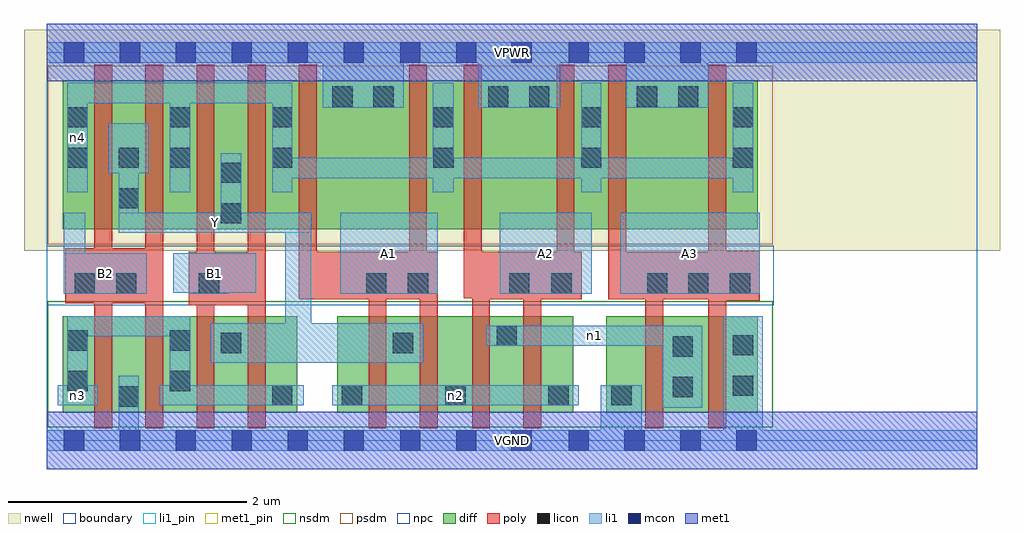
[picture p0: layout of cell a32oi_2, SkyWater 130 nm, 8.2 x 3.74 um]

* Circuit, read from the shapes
.subckt a32oi_2 A1 A2 A3 B1 B2 VGND VPWR Y n1 n2 n3 n4
XM1 VGND B2 n3 VSUBS sky130_fd_pr__nfet_01v8 w=0.81 l=0.15 m=2
XM2 Y B1 n3 VSUBS sky130_fd_pr__nfet_01v8 w=0.81 l=0.15 m=2
XM3 Y A1 n2 VSUBS sky130_fd_pr__nfet_01v8 w=0.81 l=0.15 m=2
XM4 n1 A2 n2 VSUBS sky130_fd_pr__nfet_01v8 w=0.81 l=0.15 m=2
XM5 n1 A3 VGND VSUBS sky130_fd_pr__nfet_01v8 w=0.81 l=0.15 m=2
XM6 Y B2 n4 n5 sky130_fd_pr__pfet_01v8 w=1.25 l=0.15 m=2
XM7 Y B1 n4 n5 sky130_fd_pr__pfet_01v8 w=1.25 l=0.15 m=2
XM8 VPWR A1 n4 n5 sky130_fd_pr__pfet_01v8 w=1.25 l=0.15 m=2
XM9 VPWR A2 n4 n5 sky130_fd_pr__pfet_01v8 w=1.25 l=0.15 m=2
XM10 VPWR A3 n4 n5 sky130_fd_pr__pfet_01v8 w=1.25 l=0.15 m=2
.ends

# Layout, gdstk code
import gdstk
lib = gdstk.Library(unit=1e-6, precision=1e-09)
def R(c, l, rs):  # rectangles x0, y0, x1, y1
    for r in rs: c.add(gdstk.rectangle(r[:2], r[2:], *l))
def A(c, l, x, y, w, h, nx, ny, dx, dy):  # array of equal rectangles
    R(c, l, [(x+i*dx, y+j*dy, x+i*dx+w, y+j*dy+h) for i in range(nx) for j in range(ny)])
nwell = (64, 20)
diff = (65, 20)
poly = (66, 20)
licon = (66, 44)
li1_pin = (67, 16)
li1 = (67, 20)
mcon = (67, 44)
met1_pin = (68, 16)
met1 = (68, 20)
nsdm = (93, 44)
psdm = (94, 20)
npc = (95, 20)
boundary = (235, 4)

a32oi_2 = lib.new_cell('a32oi_2')
R(a32oi_2, nwell, [(-0.19,1.595,8.01,3.45), (0,1.595,7.82,3.45)])
R(a32oi_2, diff, [(0.135,0.235,2.105,1.045), (2.44,0.235,4.425,1.045), (4.7,0.235,5.975,1.045), (0.135,1.775,5.975,3.025)])
A(a32oi_2, poly, 0.4, 0.105, 0.15, 3.05, 4, 1, 0.43, 0)
R(a32oi_2, poly, [(2.705,0.105,2.855,1.585), (3.135,0.105,3.285,1.585), (3.575,0.105,3.725,1.585), (4.005,0.105,4.155,1.585), (5.03,0.105,5.18,1.585), (5.56,0.105,5.71,3.155), (1.195,1.135,1.84,1.585), (0.155,1.155,0.98,1.615), (5.56,1.175,5.99,1.595), (2.12,1.185,3.285,1.585), (2.12,1.185,2.27,3.155), (3.045,1.185,3.195,3.155), (3.575,1.185,4.495,1.585), (4.285,1.185,4.435,3.155), (4.72,1.185,4.87,3.155), (4.72,1.185,5.99,1.585), (3.505,1.195,3.655,3.155)])
A(a32oi_2, licon, 0.175, 2.29, 0.17, 0.17, 3, 1, 0.43, 0)
A(a32oi_2, licon, 0.175, 2.63, 0.17, 0.17, 3, 1, 0.86, 0)
R(a32oi_2, licon, [(0.605,0.285,0.775,0.455), (1.895,0.295,2.065,0.465), (2.48,0.295,2.65,0.465), (3.35,0.295,3.52,0.465), (4.215,0.295,4.385,0.465), (4.745,0.295,4.915,0.465), (5.26,0.365,5.43,0.535), (5.765,0.375,5.935,0.545), (0.175,0.415,0.345,0.585), (1.035,0.415,1.205,0.585), (5.26,0.705,5.43,0.875), (5.765,0.715,5.935,0.885), (1.465,0.735,1.635,0.905), (2.91,0.735,3.08,0.905), (0.175,0.755,0.345,0.925), (1.035,0.755,1.205,0.925), (3.78,0.795,3.95,0.965), (0.235,1.235,0.405,1.405), (0.585,1.235,0.755,1.405), (1.28,1.235,1.45,1.405), (2.685,1.235,2.855,1.405), (3.035,1.235,3.205,1.405), (3.885,1.235,4.055,1.405), (4.24,1.235,4.41,1.405), (5.045,1.235,5.215,1.405), (5.39,1.235,5.56,1.405), (5.74,1.235,5.91,1.405), (1.465,1.825,1.635,1.995), (0.605,1.95,0.775,2.12), (1.465,2.165,1.635,2.335), (1.895,2.29,2.065,2.46), (3.25,2.29,3.42,2.46), (4.49,2.29,4.66,2.46), (5.765,2.29,5.935,2.46), (3.25,2.63,3.42,2.8), (4.49,2.63,4.66,2.8), (5.765,2.63,5.935,2.8), (2.4,2.805,2.57,2.975), (2.745,2.805,2.915,2.975), (3.71,2.805,3.88,2.975), (4.055,2.805,4.225,2.975), (4.96,2.805,5.13,2.975), (5.305,2.805,5.475,2.975)])
R(a32oi_2, li1_pin, [(0.145,1.235,0.84,1.575), (2.465,1.235,3.285,1.915), (3.805,1.235,4.58,1.915), (4.82,1.235,5.99,1.915), (1.065,1.24,1.76,1.575), (0.605,1.745,2.225,1.915)])
A(a32oi_2, li1, 0.175, 2.085, 0.17, 0.92, 3, 1, 0.86, 0)
R(a32oi_2, li1, [(0,-0.085,7.82,0.085), (0.605,-0.085,0.775,0.545), (4.655,-0.085,5,0.465), (5.685,-0.085,6.015,1.045), (5.175,0.275,5.51,0.965), (0.095,0.295,0.43,0.465), (0.175,0.295,0.345,1.045), (0.95,0.295,2.16,0.465), (1.035,0.295,1.205,1.045), (2.4,0.295,4.47,0.465), (1.38,0.655,3.165,0.985), (2.005,0.655,2.225,1.915), (3.695,0.795,5.51,0.965), (0.175,0.875,1.205,1.045), (0.145,1.235,0.84,1.575), (0.145,1.235,0.325,1.915), (1.195,1.235,1.535,1.575), (2.465,1.235,3.285,1.915), (3.805,1.235,4.58,1.915), (4.82,1.235,5.99,1.915), (1.065,1.24,1.76,1.575), (0.605,1.745,2.225,1.915), (0.605,1.745,0.775,2.665), (1.465,1.745,1.635,2.415), (3.245,2.085,3.42,3.005), (4.49,2.085,4.66,3.005), (5.765,2.085,5.935,3.005), (1.895,2.205,5.935,2.375), (0.52,2.245,0.86,2.665), (2.32,2.795,3,3.345), (3.625,2.795,4.315,3.345), (4.87,2.795,5.56,3.345), (0.175,2.835,2.065,3.005), (0,3.175,7.82,3.345)])
A(a32oi_2, mcon, 0.145, -0.085, 0.17, 0.17, 6, 2, 0.47, 3.26)
A(a32oi_2, mcon, 4.385, -0.085, 0.17, 0.17, 4, 2, 0.47, 3.26)
R(a32oi_2, mcon, [(2.97,-0.085,3.14,0.085), (3.44,-0.085,3.61,0.085), (3.905,-0.085,4.075,0.085), (2.97,3.175,3.14,3.345), (3.44,3.175,3.61,3.345), (3.905,3.175,4.075,3.345)])
R(a32oi_2, met1_pin, [(0,-0.24,7.82,0.24), (0,3.02,7.82,3.5)])
R(a32oi_2, met1, [(0,-0.24,7.82,0.24), (0,3.02,7.82,3.5)])
R(a32oi_2, nsdm, [(0.01,0.11,6.1,1.17)])
R(a32oi_2, psdm, [(0.01,1.65,6.1,3.15)])
R(a32oi_2, npc, [(0,1.135,6.11,1.635)])
R(a32oi_2, boundary, [(0,0,7.82,3.26)])
a32oi_2.add(gdstk.Label('A1', (2.875,1.575), layer=67, texttype=5))
a32oi_2.add(gdstk.Label('A2', (4.192,1.575), layer=67, texttype=5))
a32oi_2.add(gdstk.Label('A3', (5.405,1.575), layer=67, texttype=5))
a32oi_2.add(gdstk.Label('B1', (1.412,1.407), layer=67, texttype=5))
a32oi_2.add(gdstk.Label('B2', (0.492,1.405), layer=67, texttype=5))
a32oi_2.add(gdstk.Label('Y', (1.415,1.83), layer=67, texttype=5))
a32oi_2.add(gdstk.Label('n2', (3.435,0.38), layer=67, texttype=5))
a32oi_2.add(gdstk.Label('n1', (4.602,0.88), layer=67, texttype=5))
a32oi_2.add(gdstk.Label('n3', (0.262,0.38), layer=67, texttype=5))
a32oi_2.add(gdstk.Label('n4', (0.26,2.545), layer=67, texttype=5))
a32oi_2.add(gdstk.Label('VPWR', (3.91,3.26), layer=68, texttype=5))
a32oi_2.add(gdstk.Label('VGND', (3.91,0), layer=68, texttype=5))
a32oi_2.add(gdstk.Label('A1', (2.875,1.575), layer=67, texttype=16))
a32oi_2.add(gdstk.Label('A2', (4.192,1.575), layer=67, texttype=16))
a32oi_2.add(gdstk.Label('A3', (5.405,1.575), layer=67, texttype=16))
a32oi_2.add(gdstk.Label('B1', (1.412,1.407), layer=67, texttype=16))
a32oi_2.add(gdstk.Label('B2', (0.492,1.405), layer=67, texttype=16))
a32oi_2.add(gdstk.Label('Y', (1.415,1.83), layer=67, texttype=16))
a32oi_2.add(gdstk.Label('VPWR', (3.91,3.26), layer=68, texttype=16))
a32oi_2.add(gdstk.Label('VGND', (3.91,0), layer=68, texttype=16))

lib.write_gds('a32oi_2.gds')
